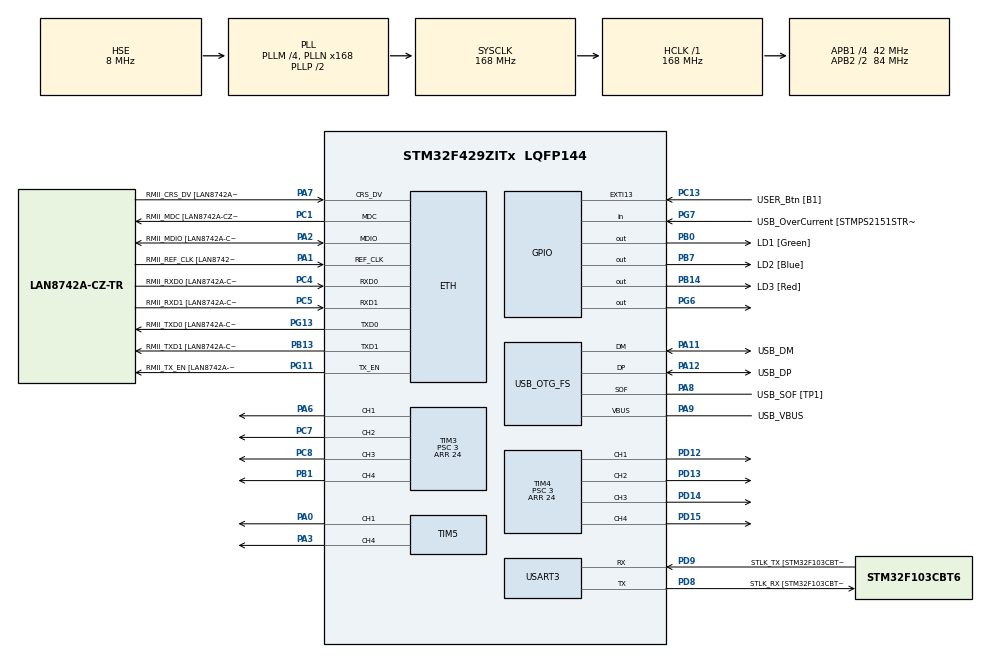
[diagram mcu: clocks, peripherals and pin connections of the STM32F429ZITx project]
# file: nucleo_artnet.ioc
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Dma.Request0=TIM3_CH1/TRIG
Dma.Request1=TIM4_CH1
Dma.Request2=TIM3_CH2
Dma.Request3=TIM3_CH3
Dma.Request4=TIM3_CH4/UP
Dma.Request5=TIM4_CH2
Dma.Request6=TIM4_UP
Dma.TIM3_CH1/TRIG.0.Direction=DMA_MEMORY_TO_PERIPH
Dma.TIM3_CH1/TRIG.0.FIFOMode=DMA_FIFOMODE_DISABLE
Dma.TIM3_CH1/TRIG.0.Instance=DMA1_Stream4
Dma.TIM3_CH1/TRIG.0.MemDataAlignment=DMA_MDATAALIGN_HALFWORD
Dma.TIM3_CH1/TRIG.0.MemInc=DMA_MINC_ENABLE
Dma.TIM3_CH1/TRIG.0.Mode=DMA_NORMAL
Dma.TIM3_CH1/TRIG.0.PeriphDataAlignment=DMA_PDATAALIGN_HALFWORD
Dma.TIM3_CH1/TRIG.0.PeriphInc=DMA_PINC_DISABLE
Dma.TIM3_CH1/TRIG.0.Priority=DMA_PRIORITY_LOW
Dma.TIM3_CH2.2.Direction=DMA_MEMORY_TO_PERIPH
Dma.TIM3_CH2.2.FIFOMode=DMA_FIFOMODE_DISABLE
Dma.TIM3_CH2.2.Instance=DMA1_Stream5
Dma.TIM3_CH2.2.MemDataAlignment=DMA_MDATAALIGN_HALFWORD
Dma.TIM3_CH2.2.MemInc=DMA_MINC_ENABLE
Dma.TIM3_CH2.2.Mode=DMA_NORMAL
Dma.TIM3_CH2.2.PeriphDataAlignment=DMA_PDATAALIGN_HALFWORD
Dma.TIM3_CH2.2.PeriphInc=DMA_PINC_DISABLE
Dma.TIM3_CH2.2.Priority=DMA_PRIORITY_LOW
Dma.TIM3_CH3.3.Direction=DMA_MEMORY_TO_PERIPH
Dma.TIM3_CH3.3.FIFOMode=DMA_FIFOMODE_DISABLE
Dma.TIM3_CH3.3.Instance=DMA1_Stream7
Dma.TIM3_CH3.3.MemDataAlignment=DMA_MDATAALIGN_HALFWORD
Dma.TIM3_CH3.3.MemInc=DMA_MINC_ENABLE
Dma.TIM3_CH3.3.Mode=DMA_NORMAL
Dma.TIM3_CH3.3.PeriphDataAlignment=DMA_PDATAALIGN_HALFWORD
Dma.TIM3_CH3.3.PeriphInc=DMA_PINC_DISABLE
Dma.TIM3_CH3.3.Priority=DMA_PRIORITY_LOW
Dma.TIM3_CH4/UP.4.Direction=DMA_MEMORY_TO_PERIPH
Dma.TIM3_CH4/UP.4.FIFOMode=DMA_FIFOMODE_DISABLE
Dma.TIM3_CH4/UP.4.Instance=DMA1_Stream2
Dma.TIM3_CH4/UP.4.MemDataAlignment=DMA_MDATAALIGN_HALFWORD
Dma.TIM3_CH4/UP.4.MemInc=DMA_MINC_ENABLE
Dma.TIM3_CH4/UP.4.Mode=DMA_NORMAL
Dma.TIM3_CH4/UP.4.PeriphDataAlignment=DMA_PDATAALIGN_HALFWORD
Dma.TIM3_CH4/UP.4.PeriphInc=DMA_PINC_DISABLE
Dma.TIM3_CH4/UP.4.Priority=DMA_PRIORITY_LOW
Dma.TIM4_CH1.1.Direction=DMA_MEMORY_TO_PERIPH
Dma.TIM4_CH1.1.FIFOMode=DMA_FIFOMODE_DISABLE
Dma.TIM4_CH1.1.Instance=DMA1_Stream0
Dma.TIM4_CH1.1.MemDataAlignment=DMA_MDATAALIGN_HALFWORD
Dma.TIM4_CH1.1.MemInc=DMA_MINC_ENABLE
Dma.TIM4_CH1.1.Mode=DMA_NORMAL
Dma.TIM4_CH1.1.PeriphDataAlignment=DMA_PDATAALIGN_HALFWORD
Dma.TIM4_CH1.1.PeriphInc=DMA_PINC_DISABLE
Dma.TIM4_CH1.1.Priority=DMA_PRIORITY_LOW
Dma.TIM4_CH2.5.Direction=DMA_MEMORY_TO_PERIPH
Dma.TIM4_CH2.5.FIFOMode=DMA_FIFOMODE_DISABLE
Dma.TIM4_CH2.5.Instance=DMA1_Stream3
Dma.TIM4_CH2.5.MemDataAlignment=DMA_MDATAALIGN_HALFWORD
Dma.TIM4_CH2.5.MemInc=DMA_MINC_ENABLE
Dma.TIM4_CH2.5.Mode=DMA_NORMAL
Dma.TIM4_CH2.5.PeriphDataAlignment=DMA_PDATAALIGN_HALFWORD
Dma.TIM4_CH2.5.PeriphInc=DMA_PINC_DISABLE
Dma.TIM4_CH2.5.Priority=DMA_PRIORITY_LOW
Dma.TIM4_UP.6.Direction=DMA_MEMORY_TO_PERIPH
Dma.TIM4_UP.6.FIFOMode=DMA_FIFOMODE_DISABLE
Dma.TIM4_UP.6.Instance=DMA1_Stream6
Dma.TIM4_UP.6.MemDataAlignment=DMA_MDATAALIGN_HALFWORD
Dma.TIM4_UP.6.MemInc=DMA_MINC_ENABLE
Dma.TIM4_UP.6.Mode=DMA_NORMAL
Dma.TIM4_UP.6.PeriphDataAlignment=DMA_PDATAALIGN_HALFWORD
Dma.TIM4_UP.6.PeriphInc=DMA_PINC_DISABLE
Dma.TIM4_UP.6.Priority=DMA_PRIORITY_LOW
ETH.MediaInterface=HAL_ETH_RMII_MODE
ETH.PHY_Name=LAN8742A_PHY_ADDRESS
ETH.PHY_Value=0
ETH.PhyAddress=0
LWIP.BSP.number=1
LWIP.GATEWAY_ADDRESS=198.168.001.001
LWIP.IP_ADDRESS=192.168.001.245
LWIP.LWIP_DHCP=0
LWIP.LWIP_HTTPD=1
LWIP.LWIP_HTTPD_CGI=1
LWIP.NETMASK_ADDRESS=255.255.255.000
LWIP.Version=v2.1.2_Cube
LWIP0.BSP.STBoard=false
LWIP0.BSP.api=BSP_COMPONENT_DRIVER
LWIP0.BSP.component=LAN8742
LWIP0.BSP.instance=LAN8742
LWIP0.BSP.name=Driver_PHY
LWIP0.BSP.semaphore=S_LAN8742
LWIP0.BSP.solution=LAN8742
Mcu.Family=STM32F4
Mcu.Name=STM32F429ZITx
Mcu.Package=LQFP144
NVIC.DMA1_Stream0_IRQn=true\:0\:0\:false\:false\:true\:false\:true\:true
NVIC.DMA1_Stream2_IRQn=true\:0\:0\:false\:false\:true\:false\:true\:true
NVIC.DMA1_Stream3_IRQn=true\:0\:0\:false\:false\:true\:false\:true\:true
NVIC.DMA1_Stream4_IRQn=true\:0\:0\:false\:false\:true\:false\:true\:true
NVIC.DMA1_Stream5_IRQn=true\:0\:0\:false\:false\:true\:false\:true\:true
NVIC.DMA1_Stream6_IRQn=true\:0\:0\:false\:false\:true\:false\:true\:true
NVIC.DMA1_Stream7_IRQn=true\:0\:0\:false\:false\:true\:false\:true\:true
NVIC.ETH_IRQn=true\:5\:0\:true\:false\:true\:true\:true\:true
NVIC.PriorityGroup=NVIC_PRIORITYGROUP_4
PA0/WKUP.Signal=S_TIM5_CH1
PA1.GPIO_Label=RMII_REF_CLK [LAN8742A-CZ-TR_REFCLK0]
PA1.Mode=RMII
PA1.Signal=ETH_REF_CLK
PA10.GPIO_Label=USB_ID
PA10.Signal=USB_OTG_FS_ID
PA11.GPIO_Label=USB_DM
PA11.Mode=Device_Only
PA11.Signal=USB_OTG_FS_DM
PA12.GPIO_Label=USB_DP
PA12.Mode=Device_Only
PA12.Signal=USB_OTG_FS_DP
PA13.GPIO_Label=TMS
PA13.Mode=Serial_Wire
PA13.Signal=SYS_JTMS-SWDIO
PA14.GPIO_Label=TCK
PA14.Mode=Serial_Wire
PA14.Signal=SYS_JTCK-SWCLK
PA2.GPIO_Label=RMII_MDIO [LAN8742A-CZ-TR_MDIO]
PA2.Mode=RMII
PA2.Signal=ETH_MDIO
PA3.Signal=S_TIM5_CH4
PA6.Signal=S_TIM3_CH1
PA7.GPIO_Label=RMII_CRS_DV [LAN8742A-CZ-TR_CRS_DV]
PA7.Mode=RMII
PA7.Signal=ETH_CRS_DV
PA8.GPIO_Label=USB_SOF [TP1]
PA8.Mode=Activate_SOF_FS
PA8.Signal=USB_OTG_FS_SOF
PA9.GPIO_Label=USB_VBUS
PA9.Mode=Activate_VBUS
PA9.Signal=USB_OTG_FS_VBUS
PB0.GPIO_Label=LD1 [Green]
PB0.Signal=GPIO_Output
PB1.Signal=S_TIM3_CH4
PB13.GPIO_Label=RMII_TXD1 [LAN8742A-CZ-TR_TXD1]
PB13.Mode=RMII
PB13.Signal=ETH_TXD1
PB14.GPIO_Label=LD3 [Red]
PB14.Signal=GPIO_Output
PB7.GPIO_Label=LD2 [Blue]
PB7.Signal=GPIO_Output
PC1.GPIO_Label=RMII_MDC [LAN8742A-CZ-TR_MDC]
PC1.Mode=RMII
PC1.Signal=ETH_MDC
PC13.GPIO_Label=USER_Btn [B1]
PC13.Signal=GPXTI13
PC14/OSC32_IN.Mode=LSE-External-Oscillator
PC14/OSC32_IN.Signal=RCC_OSC32_IN
PC15/OSC32_OUT.Mode=LSE-External-Oscillator
PC15/OSC32_OUT.Signal=RCC_OSC32_OUT
PC4.GPIO_Label=RMII_RXD0 [LAN8742A-CZ-TR_RXD0]
PC4.Mode=RMII
PC4.Signal=ETH_RXD0
PC5.GPIO_Label=RMII_RXD1 [LAN8742A-CZ-TR_RXD1]
PC5.Mode=RMII
PC5.Signal=ETH_RXD1
PC7.Signal=S_TIM3_CH2
PC8.Signal=S_TIM3_CH3
PD12.Signal=S_TIM4_CH1
PD13.Signal=S_TIM4_CH2
PD14.Signal=S_TIM4_CH3
PD15.Signal=S_TIM4_CH4
PD8.GPIO_Label=STLK_RX [STM32F103CBT6_PA3]
PD8.Mode=Asynchronous
PD8.Signal=USART3_TX
PD9.GPIO_Label=STLK_TX [STM32F103CBT6_PA2]
PD9.Mode=Asynchronous
PD9.Signal=USART3_RX
PG11.GPIO_Label=RMII_TX_EN [LAN8742A-CZ-TR_TXEN]
PG11.Mode=RMII
PG11.Signal=ETH_TX_EN
PG13.GPIO_Label=RMII_TXD0 [LAN8742A-CZ-TR_TXD0]
PG13.Mode=RMII
PG13.Signal=ETH_TXD0
PG6.Signal=GPIO_Output
PG7.GPIO_Label=USB_OverCurrent [STMPS2151STR_FAULT]
PG7.Signal=GPIO_Input
PH0/OSC_IN.GPIO_Label=MCO [STM32F103CBT6_PA8]
PH0/OSC_IN.Mode=HSE-External-Clock-Source
PH0/OSC_IN.Signal=RCC_OSC_IN
PH1/OSC_OUT.Mode=HSE-External-Clock-Source
PH1/OSC_OUT.Signal=RCC_OSC_OUT
ProjectManager.HeapSize=0x200
ProjectManager.StackSize=0x400
ProjectManager.TargetToolchain=STM32CubeIDE
RCC.48MHZClocksFreq_Value=48000000
RCC.AHBFreq_Value=168000000
RCC.APB1CLKDivider=RCC_HCLK_DIV4
RCC.APB1Freq_Value=42000000
RCC.APB1TimFreq_Value=84000000
RCC.APB2CLKDivider=RCC_HCLK_DIV2
RCC.APB2Freq_Value=84000000
RCC.APB2TimFreq_Value=168000000
RCC.CortexFreq_Value=168000000
RCC.HCLKFreq_Value=168000000
RCC.HSE_VALUE=8000000
RCC.HSI_VALUE=16000000
RCC.PLLM=4
RCC.PLLMUL=RCC_PLL_MUL9
RCC.PLLN=168
RCC.PLLQ=7
RCC.PRESCALERUSB=RCC_USBCLKSOURCE_PLL_DIV1_5
RCC.SYSCLKFreq_VALUE=168000000
RCC.SYSCLKSource=RCC_SYSCLKSOURCE_PLLCLK
RCC.SYSCLKSourceVirtual=RCC_SYSCLKSOURCE_PLLCLK
RCC.USBFreq_Value=48000000
RCC.VCOOutputFreq_Value=336000000
SH.S_TIM3_CH1.0=TIM3_CH1,PWM Generation1 CH1
SH.S_TIM3_CH2.0=TIM3_CH2,PWM Generation2 CH2
SH.S_TIM3_CH3.0=TIM3_CH3,PWM Generation3 CH3
SH.S_TIM3_CH4.0=TIM3_CH4,PWM Generation4 CH4
SH.S_TIM4_CH1.0=TIM4_CH1,PWM Generation1 CH1
SH.S_TIM4_CH2.0=TIM4_CH2,PWM Generation2 CH2
SH.S_TIM4_CH3.0=TIM4_CH3,PWM Generation3 CH3
SH.S_TIM4_CH4.0=TIM4_CH4,PWM Generation4 CH4
SH.S_TIM5_CH1.0=TIM5_CH1,PWM Generation1 CH1
SH.S_TIM5_CH4.0=TIM5_CH4,PWM Generation4 CH4
TIM3.Channel-PWM\ Generation1\ CH1=TIM_CHANNEL_1
TIM3.Channel-PWM\ Generation2\ CH2=TIM_CHANNEL_2
TIM3.Channel-PWM\ Generation3\ CH3=TIM_CHANNEL_3
TIM3.Channel-PWM\ Generation4\ CH4=TIM_CHANNEL_4
TIM3.Period=24
TIM3.Prescaler=3
TIM4.Channel-PWM\ Generation1\ CH1=TIM_CHANNEL_1
TIM4.Channel-PWM\ Generation2\ CH2=TIM_CHANNEL_2
TIM4.Channel-PWM\ Generation3\ CH3=TIM_CHANNEL_3
TIM4.Channel-PWM\ Generation4\ CH4=TIM_CHANNEL_4
TIM4.Period=24
TIM4.Prescaler=3
TIM5.Channel-PWM\ Generation1\ CH1=TIM_CHANNEL_1
TIM5.Channel-PWM\ Generation4\ CH4=TIM_CHANNEL_4
USART3.VirtualMode=VM_ASYNC
USB_OTG_FS.VirtualMode=Device_Only
VP_LWIP_VS_Enabled.Mode=Enabled
VP_TIM5_VS_ClockSourceINT.Mode=Internal
board=NUCLEO-F429ZI

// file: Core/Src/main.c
/* USER CODE BEGIN Header */
/**
  ******************************************************************************
  * @file           : main.c
  * @brief          : Main program body
  ******************************************************************************
  * @attention
  *
  * Copyright (c) 2026 STMicroelectronics.
  * All rights reserved.
  *
  * This software is licensed under terms that can be found in the LICENSE file
  * in the root directory of this software component.
  * If no LICENSE file comes with this software, it is provided AS-IS.
  *
  ******************************************************************************
  */
/* USER CODE END Header */
#include "main.h"
#include "lwip.h"

/* USER CODE BEGIN Includes */
#include <string.h>
#include "artnet.h"
#include "dmx_buffer.h"
#include "neo_pixel.h"
#include "device_config.h"
#include "web_server.h"
// #include "lwip/netif.h"
/* USER CODE END Includes */

/* USER CODE BEGIN PTD */
// extern struct netif gnetif;
/* USER CODE END PTD */

/* USER CODE BEGIN PD */

/*
 give simielar html for my code to update the variabel in my code like ip config and  subnet mansk ans
  changabel with defualt like optional , on hardware code make this  b1 user button on nucleo the f429zi
 and  make the work on the click come to defualt other wise same for the ip ,
  which universes on the which pin and  the order of it and  ,
 change name and shortname arnet,
 !no new pins or nwe gpio pin
 */

/*
 * LED DMA source buffers — one flat, packed half-word pulse stream per pin.
 * Each half-word is one timer-compare value (one WS bit). Sized statically for
 * the worst case (CFG_PULSE_HALFWORDS_PER_PIN == 680 RGB LEDs/pin), which keeps
 * the exact RAM footprint of the original firmware. The active DMA length is
 * computed from the live config at run time (g_dma_len).
 *
 * MUST live in main SRAM — the timer DMA cannot reach CCM RAM.
 */
uint16_t led_buf[CFG_NUM_PINS][CFG_DMA_HALFWORDS_PER_PIN];

static volatile uint8_t dma_busy[CFG_NUM_PINS];

/* USER CODE END PD */

TIM_HandleTypeDef htim3;
TIM_HandleTypeDef htim4;
TIM_HandleTypeDef htim5;
DMA_HandleTypeDef hdma_tim3_ch1_trig;
DMA_HandleTypeDef hdma_tim3_ch2;
DMA_HandleTypeDef hdma_tim3_ch3;
DMA_HandleTypeDef hdma_tim3_ch4_up;
DMA_HandleTypeDef hdma_tim4_ch1;
DMA_HandleTypeDef hdma_tim4_ch2;
DMA_HandleTypeDef hdma_tim4_up;

UART_HandleTypeDef huart3;

PCD_HandleTypeDef hpcd_USB_OTG_FS;

/* USER CODE BEGIN PV */
//neopixel_led leds[NUMBER_OF_LEDS + 1];
//static rgb_color dmx_colors[NUMBER_OF_LEDS];
//static uint8_t dma_busy1 = 0;                // guard flag
/* USER CODE END PV */

void SystemClock_Config(void);
static void MX_GPIO_Init(void);
static void MX_DMA_Init(void);
static void MX_USART3_UART_Init(void);
static void MX_USB_OTG_FS_PCD_Init(void);
static void MX_TIM3_Init(void);
static void MX_TIM4_Init(void);
static void MX_TIM5_Init(void);

/* USER CODE BEGIN 0 */

/* Cached LED-engine parameters — config only changes on reboot, so we resolve
 * the derived values once at startup (engine_refresh) and reuse them. */
static const uint8_t *g_perm;          /* wire-order permutation                */
static uint8_t        g_channels;      /* channels per LED (3=RGB, 4=RGBW, ...)  */
static uint16_t       g_bits_per_led;  /* g_channels * 8                         */
static uint16_t       g_leds_per_uni;  /* LEDs per universe                      */
static uint8_t        g_upp;           /* universes per pin                      */
static uint8_t        g_active;        /* data-carrying channels (rest emit 0)   */
static uint16_t       g_t_on, g_t_off; /* PWM compare for 1 / 0                  */
static uint32_t       g_dma_len;       /* active half-words per pin (+ reset)    */

static void engine_refresh(void)
{
    g_channels     = cfg_wire_order((color_format_t)g_cfg.color_format,
                                     (color_order_t)g_cfg.color_order, &g_perm);
    g_bits_per_led = (uint16_t)g_channels * 8u;
    g_leds_per_uni = g_cfg.leds_per_universe;
    g_upp          = g_cfg.universes_per_pin;
    g_active       = g_cfg.active_channels ? g_cfg.active_channels : g_channels;
    g_t_on         = g_cfg.t_on;
    g_t_off        = g_cfg.t_off;
    g_dma_len      = cfg_dma_len_per_pin();
}

/* Encode all universes mapped to `pin` into its packed DMA buffer. */
static void build_pin(uint8_t pin)
{
    uint16_t *dst = led_buf[pin];
    neo_fill_reset(dst, CFG_LEAD_HALFWORDS);    /* leading low: absorb the shared-
                                                 * timer mid-period start glitch  */
    dst += CFG_LEAD_HALFWORDS;
    for (uint8_t s = 0; s < g_upp; s++) {
        uint8_t uni = g_cfg.pin_universe[pin][s];
        const uint8_t *src = (uni < DMX_UNIVERSE_COUNT && dmx_universes[uni].valid)
                             ? dmx_universes[uni].data : NULL;   /* NULL => off */
        neo_encode(dst, src, g_leds_per_uni, g_perm, g_channels, g_active, g_t_on, g_t_off);
        dst += (uint32_t)g_leds_per_uni * g_bits_per_led;
    }
    neo_fill_reset(dst, CFG_RESET_HALFWORDS);   /* trailing latch/reset low time */
}

#define PUSH_STRIP(pin_idx, htim_inst, ch)                                      \
    if (!dma_busy[(pin_idx)]) {                                                 \
        build_pin((pin_idx));                                                   \
        dma_busy[(pin_idx)] = 1;                                                \
        HAL_TIM_PWM_Start_DMA(&(htim_inst), (ch),                               \
            (uint32_t *)led_buf[(pin_idx)], g_dma_len);                         \
    }

/* Hold B1 (USER button, PC13) for ~1 s to wipe settings and reboot to defaults.
 * No new GPIO — reuses the existing USER_Btn pin. */
static void poll_factory_button(uint32_t now)
{
    static uint32_t press_start = 0;
    if (HAL_GPIO_ReadPin(USER_Btn_GPIO_Port, USER_Btn_Pin) == GPIO_PIN_SET) {
        if (press_start == 0) {
            press_start = now ? now : 1;
        } else if (now - press_start >= 1000u) {
            HAL_GPIO_WritePin(LD3_GPIO_Port, LD3_Pin, GPIO_PIN_SET);  /* feedback */
            cfg_factory_reset();
            HAL_Delay(200);
            NVIC_SystemReset();
        }
    } else {
        press_start = 0;
    }
}

/* USER CODE END 0 */

int main(void)
{

  /* MCU Configuration--------------------------------------------------------*/

  /* Reset of all peripherals, Initializes the Flash interface and the Systick. */
  HAL_Init();

  /* Configure the system clock */
  SystemClock_Config();

  /* USER CODE BEGIN SysInit */
  /* Load persisted settings (or compiled-in defaults) BEFORE the network and
   * Art-Net come up — MX_LWIP_Init() and artnet_init() both read g_cfg. */
  cfg_init();
  /* USER CODE END SysInit */

  /* Initialize all configured peripherals */
  MX_GPIO_Init();
  MX_DMA_Init();
  MX_USART3_UART_Init();
  MX_USB_OTG_FS_PCD_Init();
  MX_LWIP_Init();
  MX_TIM3_Init();
  MX_TIM4_Init();
  MX_TIM5_Init();
  /* USER CODE BEGIN 2 */
  memset((uint8_t *)dma_busy, 0, sizeof(dma_busy));

  engine_refresh();      /* resolve LED-engine params from g_cfg */
  web_server_init();
  artnet_init();         /* Art-Net UDP listener + ArtPollReply  */
//  web_server_init();     /* HTTP config server on port 80        */
  /* USER CODE END 2 */

  /* Infinite loop */
  while (1)
  {

    /* USER CODE BEGIN 3 */

	  MX_LWIP_Process();

	     uint32_t now = HAL_GetTick();

	     /* ---- TEMP DEBUG: 1 Hz heartbeat over USART3 (ST-Link VCP) ---- */
	     {
	         extern struct netif gnetif;
	         extern volatile uint32_t artnet_rx_total;
	         static uint32_t hb = 0;
	         if (now - hb >= 1000u) {
	             hb = now;
	             char line[80];
	             int n = snprintf(line, sizeof(line),
	                 "HB t=%lu linkup=%d up=%d artnet=%lu\r\n",
	                 (unsigned long)now,
	                 (int)netif_is_link_up(&gnetif), (int)netif_is_up(&gnetif),
	                 (unsigned long)artnet_rx_total);
	             HAL_UART_Transmit(&huart3, (uint8_t *)line, (uint16_t)n, 50);
	         }
	     }

	     // Status LED blink
	     static uint32_t last_pkt0 = 0, last_blink0 = 0;
	     if (dmx_universes[0].packet_count != last_pkt0) {
	         last_pkt0   = dmx_universes[0].packet_count;
	         last_blink0 = now;
	     }
	     HAL_GPIO_WritePin(LD1_GPIO_Port, LD1_Pin,
	         (dmx_universes[0].data[0] | dmx_universes[0].data[1] | dmx_universes[0].data[2])
	             ? GPIO_PIN_SET : GPIO_PIN_RESET);
	     HAL_GPIO_WritePin(LD2_GPIO_Port, LD2_Pin,
	         ((now - last_blink0 < 500) && (now % 200 < 100))
	             ? GPIO_PIN_SET : GPIO_PIN_RESET);

	     /* Drive the 5 output pins (fixed HW: TIM3 CH1-4 + TIM4 CH1).
	      * Universe selection per pin comes from g_cfg.pin_universe[]. */
	     PUSH_STRIP(0, htim3, TIM_CHANNEL_1);
	     PUSH_STRIP(1, htim3, TIM_CHANNEL_2);
	     PUSH_STRIP(2, htim3, TIM_CHANNEL_3);
	     PUSH_STRIP(3, htim3, TIM_CHANNEL_4);
	     PUSH_STRIP(4, htim4, TIM_CHANNEL_1);

	     /* B1 held ~1s -> factory reset to defaults + reboot */
	     poll_factory_button(now);

  }
  /* USER CODE END 3 */
}

void SystemClock_Config(void)
{
  RCC_OscInitTypeDef RCC_OscInitStruct = {0};
  RCC_ClkInitTypeDef RCC_ClkInitStruct = {0};

  /** Configure the main internal regulator output voltage
  */
  __HAL_RCC_PWR_CLK_ENABLE();
  __HAL_PWR_VOLTAGESCALING_CONFIG(PWR_REGULATOR_VOLTAGE_SCALE1);

  /** Initializes the RCC Oscillators according to the specified parameters
  * in the RCC_OscInitTypeDef structure.
  */
  RCC_OscInitStruct.OscillatorType = RCC_OSCILLATORTYPE_HSE;
  RCC_OscInitStruct.HSEState = RCC_HSE_BYPASS;
  RCC_OscInitStruct.PLL.PLLState = RCC_PLL_ON;
  RCC_OscInitStruct.PLL.PLLSource = RCC_PLLSOURCE_HSE;
  RCC_OscInitStruct.PLL.PLLM = 4;
  RCC_OscInitStruct.PLL.PLLN = 168;
  RCC_OscInitStruct.PLL.PLLP = RCC_PLLP_DIV2;
  RCC_OscInitStruct.PLL.PLLQ = 7;
  if (HAL_RCC_OscConfig(&RCC_OscInitStruct) != HAL_OK)
  {
    Error_Handler();
  }

  /** Initializes the CPU, AHB and APB buses clocks
  */
  RCC_ClkInitStruct.ClockType = RCC_CLOCKTYPE_HCLK|RCC_CLOCKTYPE_SYSCLK
                              |RCC_CLOCKTYPE_PCLK1|RCC_CLOCKTYPE_PCLK2;
  RCC_ClkInitStruct.SYSCLKSource = RCC_SYSCLKSOURCE_PLLCLK;
  RCC_ClkInitStruct.AHBCLKDivider = RCC_SYSCLK_DIV1;
  RCC_ClkInitStruct.APB1CLKDivider = RCC_HCLK_DIV4;
  RCC_ClkInitStruct.APB2CLKDivider = RCC_HCLK_DIV2;

  if (HAL_RCC_ClockConfig(&RCC_ClkInitStruct, FLASH_LATENCY_5) != HAL_OK)
  {
    Error_Handler();
  }
}

static void MX_TIM3_Init(void)
{

  TIM_MasterConfigTypeDef sMasterConfig = {0};
  TIM_OC_InitTypeDef sConfigOC = {0};

  htim3.Instance = TIM3;
  htim3.Init.Prescaler = 3;
  htim3.Init.CounterMode = TIM_COUNTERMODE_UP;
  htim3.Init.Period = 24;
  htim3.Init.ClockDivision = TIM_CLOCKDIVISION_DIV1;
  htim3.Init.AutoReloadPreload = TIM_AUTORELOAD_PRELOAD_DISABLE;
  if (HAL_TIM_PWM_Init(&htim3) != HAL_OK)
  {
    Error_Handler();
  }
  sMasterConfig.MasterOutputTrigger = TIM_TRGO_RESET;
  sMasterConfig.MasterSlaveMode = TIM_MASTERSLAVEMODE_DISABLE;
  if (HAL_TIMEx_MasterConfigSynchronization(&htim3, &sMasterConfig) != HAL_OK)
  {
    Error_Handler();
  }
  sConfigOC.OCMode = TIM_OCMODE_PWM1;
  sConfigOC.Pulse = 0;
  sConfigOC.OCPolarity = TIM_OCPOLARITY_HIGH;
  sConfigOC.OCFastMode = TIM_OCFAST_DISABLE;
  if (HAL_TIM_PWM_ConfigChannel(&htim3, &sConfigOC, TIM_CHANNEL_1) != HAL_OK)
  {
    Error_Handler();
  }
  if (HAL_TIM_PWM_ConfigChannel(&htim3, &sConfigOC, TIM_CHANNEL_2) != HAL_OK)
  {
    Error_Handler();
  }
  if (HAL_TIM_PWM_ConfigChannel(&htim3, &sConfigOC, TIM_CHANNEL_3) != HAL_OK)
  {
    Error_Handler();
  }
  if (HAL_TIM_PWM_ConfigChannel(&htim3, &sConfigOC, TIM_CHANNEL_4) != HAL_OK)
  {
    Error_Handler();
  }
  HAL_TIM_MspPostInit(&htim3);

}

static void MX_TIM4_Init(void)
{

  TIM_MasterConfigTypeDef sMasterConfig = {0};
  TIM_OC_InitTypeDef sConfigOC = {0};

  htim4.Instance = TIM4;
  htim4.Init.Prescaler = 3;
  htim4.Init.CounterMode = TIM_COUNTERMODE_UP;
  htim4.Init.Period = 24;
  htim4.Init.ClockDivision = TIM_CLOCKDIVISION_DIV1;
  htim4.Init.AutoReloadPreload = TIM_AUTORELOAD_PRELOAD_DISABLE;
  if (HAL_TIM_PWM_Init(&htim4) != HAL_OK)
  {
    Error_Handler();
  }
  sMasterConfig.MasterOutputTrigger = TIM_TRGO_RESET;
  sMasterConfig.MasterSlaveMode = TIM_MASTERSLAVEMODE_DISABLE;
  if (HAL_TIMEx_MasterConfigSynchronization(&htim4, &sMasterConfig) != HAL_OK)
  {
    Error_Handler();
  }
  sConfigOC.OCMode = TIM_OCMODE_PWM1;
  sConfigOC.Pulse = 0;
  sConfigOC.OCPolarity = TIM_OCPOLARITY_HIGH;
  sConfigOC.OCFastMode = TIM_OCFAST_DISABLE;
  if (HAL_TIM_PWM_ConfigChannel(&htim4, &sConfigOC, TIM_CHANNEL_1) != HAL_OK)
  {
    Error_Handler();
  }
  if (HAL_TIM_PWM_ConfigChannel(&htim4, &sConfigOC, TIM_CHANNEL_2) != HAL_OK)
  {
    Error_Handler();
  }
  if (HAL_TIM_PWM_ConfigChannel(&htim4, &sConfigOC, TIM_CHANNEL_3) != HAL_OK)
  {
    Error_Handler();
  }
  if (HAL_TIM_PWM_ConfigChannel(&htim4, &sConfigOC, TIM_CHANNEL_4) != HAL_OK)
  {
    Error_Handler();
  }
  HAL_TIM_MspPostInit(&htim4);

}

static void MX_TIM5_Init(void)
{

  TIM_ClockConfigTypeDef sClockSourceConfig = {0};
  TIM_MasterConfigTypeDef sMasterConfig = {0};
  TIM_OC_InitTypeDef sConfigOC = {0};

  htim5.Instance = TIM5;
  htim5.Init.Prescaler = 0;
  htim5.Init.CounterMode = TIM_COUNTERMODE_UP;
  htim5.Init.Period = 4294967295;
  htim5.Init.ClockDivision = TIM_CLOCKDIVISION_DIV1;
  htim5.Init.AutoReloadPreload = TIM_AUTORELOAD_PRELOAD_DISABLE;
  if (HAL_TIM_Base_Init(&htim5) != HAL_OK)
  {
    Error_Handler();
  }
  sClockSourceConfig.ClockSource = TIM_CLOCKSOURCE_INTERNAL;
  if (HAL_TIM_ConfigClockSource(&htim5, &sClockSourceConfig) != HAL_OK)
  {
    Error_Handler();
  }
  if (HAL_TIM_PWM_Init(&htim5) != HAL_OK)
  {
    Error_Handler();
  }
  sMasterConfig.MasterOutputTrigger = TIM_TRGO_RESET;
  sMasterConfig.MasterSlaveMode = TIM_MASTERSLAVEMODE_DISABLE;
  if (HAL_TIMEx_MasterConfigSynchronization(&htim5, &sMasterConfig) != HAL_OK)
  {
    Error_Handler();
  }
  sConfigOC.OCMode = TIM_OCMODE_PWM1;
  sConfigOC.Pulse = 0;
  sConfigOC.OCPolarity = TIM_OCPOLARITY_HIGH;
  sConfigOC.OCFastMode = TIM_OCFAST_DISABLE;
  if (HAL_TIM_PWM_ConfigChannel(&htim5, &sConfigOC, TIM_CHANNEL_1) != HAL_OK)
  {
    Error_Handler();
  }
  if (HAL_TIM_PWM_ConfigChannel(&htim5, &sConfigOC, TIM_CHANNEL_4) != HAL_OK)
  {
    Error_Handler();
  }
  HAL_TIM_MspPostInit(&htim5);

}

static void MX_USART3_UART_Init(void)
{

  huart3.Instance = USART3;
  huart3.Init.BaudRate = 115200;
  huart3.Init.WordLength = UART_WORDLENGTH_8B;
  huart3.Init.StopBits = UART_STOPBITS_1;
  huart3.Init.Parity = UART_PARITY_NONE;
  huart3.Init.Mode = UART_MODE_TX_RX;
  huart3.Init.HwFlowCtl = UART_HWCONTROL_NONE;
  huart3.Init.OverSampling = UART_OVERSAMPLING_16;
  if (HAL_UART_Init(&huart3) != HAL_OK)
  {
    Error_Handler();
  }

}

static void MX_USB_OTG_FS_PCD_Init(void)
{

  hpcd_USB_OTG_FS.Instance = USB_OTG_FS;
  hpcd_USB_OTG_FS.Init.dev_endpoints = 4;
  hpcd_USB_OTG_FS.Init.speed = PCD_SPEED_FULL;
  hpcd_USB_OTG_FS.Init.dma_enable = DISABLE;
  hpcd_USB_OTG_FS.Init.phy_itface = PCD_PHY_EMBEDDED;
  hpcd_USB_OTG_FS.Init.Sof_enable = ENABLE;
  hpcd_USB_OTG_FS.Init.low_power_enable = DISABLE;
  hpcd_USB_OTG_FS.Init.lpm_enable = DISABLE;
  hpcd_USB_OTG_FS.Init.vbus_sensing_enable = ENABLE;
  hpcd_USB_OTG_FS.Init.use_dedicated_ep1 = DISABLE;
  if (HAL_PCD_Init(&hpcd_USB_OTG_FS) != HAL_OK)
  {
    Error_Handler();
  }

}

static void MX_DMA_Init(void)
{

  /* DMA controller clock enable */
  __HAL_RCC_DMA1_CLK_ENABLE();

  /* DMA interrupt init */
  /* DMA1_Stream0_IRQn interrupt configuration */
  HAL_NVIC_SetPriority(DMA1_Stream0_IRQn, 0, 0);
  HAL_NVIC_EnableIRQ(DMA1_Stream0_IRQn);
  /* DMA1_Stream2_IRQn interrupt configuration */
  HAL_NVIC_SetPriority(DMA1_Stream2_IRQn, 0, 0);
  HAL_NVIC_EnableIRQ(DMA1_Stream2_IRQn);
  /* DMA1_Stream3_IRQn interrupt configuration */
  HAL_NVIC_SetPriority(DMA1_Stream3_IRQn, 0, 0);
  HAL_NVIC_EnableIRQ(DMA1_Stream3_IRQn);
  /* DMA1_Stream4_IRQn interrupt configuration */
  HAL_NVIC_SetPriority(DMA1_Stream4_IRQn, 0, 0);
  HAL_NVIC_EnableIRQ(DMA1_Stream4_IRQn);
  /* DMA1_Stream5_IRQn interrupt configuration */
  HAL_NVIC_SetPriority(DMA1_Stream5_IRQn, 0, 0);
  HAL_NVIC_EnableIRQ(DMA1_Stream5_IRQn);
  /* DMA1_Stream6_IRQn interrupt configuration */
  HAL_NVIC_SetPriority(DMA1_Stream6_IRQn, 0, 0);
  HAL_NVIC_EnableIRQ(DMA1_Stream6_IRQn);
  /* DMA1_Stream7_IRQn interrupt configuration */
  HAL_NVIC_SetPriority(DMA1_Stream7_IRQn, 0, 0);
  HAL_NVIC_EnableIRQ(DMA1_Stream7_IRQn);

}

static void MX_GPIO_Init(void)
{
  GPIO_InitTypeDef GPIO_InitStruct = {0};

  /* GPIO Ports Clock Enable */
  __HAL_RCC_GPIOC_CLK_ENABLE();
  __HAL_RCC_GPIOH_CLK_ENABLE();
  __HAL_RCC_GPIOA_CLK_ENABLE();
  __HAL_RCC_GPIOB_CLK_ENABLE();
  __HAL_RCC_GPIOD_CLK_ENABLE();
  __HAL_RCC_GPIOG_CLK_ENABLE();

  /*Configure GPIO pin Output Level */
  HAL_GPIO_WritePin(GPIOB, LD1_Pin|LD3_Pin|LD2_Pin, GPIO_PIN_RESET);

  /*Configure GPIO pin Output Level */
  HAL_GPIO_WritePin(GPIOG, GPIO_PIN_6, GPIO_PIN_RESET);

  /*Configure GPIO pin : USER_Btn_Pin */
  GPIO_InitStruct.Pin = USER_Btn_Pin;
  GPIO_InitStruct.Mode = GPIO_MODE_IT_RISING;
  GPIO_InitStruct.Pull = GPIO_NOPULL;
  HAL_GPIO_Init(USER_Btn_GPIO_Port, &GPIO_InitStruct);

  /*Configure GPIO pins : LD1_Pin LD3_Pin LD2_Pin */
  GPIO_InitStruct.Pin = LD1_Pin|LD3_Pin|LD2_Pin;
  GPIO_InitStruct.Mode = GPIO_MODE_OUTPUT_PP;
  GPIO_InitStruct.Pull = GPIO_NOPULL;
  GPIO_InitStruct.Speed = GPIO_SPEED_FREQ_LOW;
  HAL_GPIO_Init(GPIOB, &GPIO_InitStruct);

  /*Configure GPIO pin : PG6 */
  GPIO_InitStruct.Pin = GPIO_PIN_6;
  GPIO_InitStruct.Mode = GPIO_MODE_OUTPUT_PP;
  GPIO_InitStruct.Pull = GPIO_NOPULL;
  GPIO_InitStruct.Speed = GPIO_SPEED_FREQ_LOW;
  HAL_GPIO_Init(GPIOG, &GPIO_InitStruct);

  /*Configure GPIO pin : USB_OverCurrent_Pin */
  GPIO_InitStruct.Pin = USB_OverCurrent_Pin;
  GPIO_InitStruct.Mode = GPIO_MODE_INPUT;
  GPIO_InitStruct.Pull = GPIO_NOPULL;
  HAL_GPIO_Init(USB_OverCurrent_GPIO_Port, &GPIO_InitStruct);

}

/* USER CODE BEGIN 4 */

void HAL_TIM_PWM_PulseFinishedCallback(TIM_HandleTypeDef *htim)
{
    if (htim->Instance == TIM3) {
        uint32_t ch = htim->Channel;
        if (ch == HAL_TIM_ACTIVE_CHANNEL_1) { HAL_TIM_PWM_Stop_DMA(htim, TIM_CHANNEL_1); dma_busy[0] = 0; }
        if (ch == HAL_TIM_ACTIVE_CHANNEL_2) { HAL_TIM_PWM_Stop_DMA(htim, TIM_CHANNEL_2); dma_busy[1] = 0; }
        if (ch == HAL_TIM_ACTIVE_CHANNEL_3) { HAL_TIM_PWM_Stop_DMA(htim, TIM_CHANNEL_3); dma_busy[2] = 0; }
        if (ch == HAL_TIM_ACTIVE_CHANNEL_4) { HAL_TIM_PWM_Stop_DMA(htim, TIM_CHANNEL_4); dma_busy[3] = 0; }
    }
    else if (htim->Instance == TIM4) {
        uint32_t ch = htim->Channel;
        if (ch == HAL_TIM_ACTIVE_CHANNEL_1) { HAL_TIM_PWM_Stop_DMA(htim, TIM_CHANNEL_1); dma_busy[4] = 0; }
//        if (ch == HAL_TIM_ACTIVE_CHANNEL_2) { HAL_TIM_PWM_Stop_DMA(htim, TIM_CHANNEL_2); dma_busy[5] = 0; }
    }
}
/* USER CODE END 4 */

void Error_Handler(void)
{
  __disable_irq();
  while (1)
  {
  }
}
